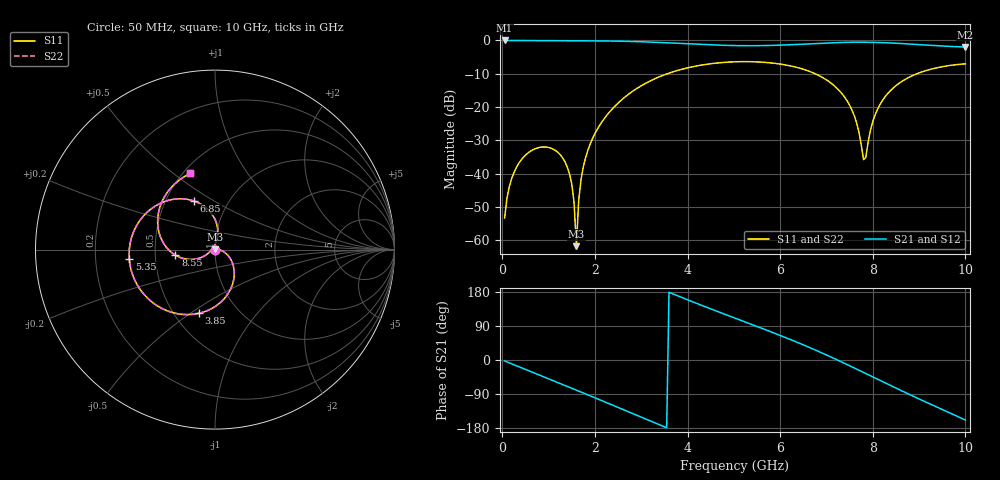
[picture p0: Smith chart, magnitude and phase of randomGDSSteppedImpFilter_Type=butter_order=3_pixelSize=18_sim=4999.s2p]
! freq	dB(S11)	phase(S11)	dB(S12)	phase(S12)
!  dB(S21)	phase(S21)	dB(S22)	phase(S22)
!S-par simulation data
#  GHz  S  DB  R 50
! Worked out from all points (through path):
!   200 points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, 50 MHz to 10 GHz, reference 50 ohm
!   highest |S21| = 0.00 dB at 50 MHz (marker M1); lowest = -2.0 dB at 10 GHz (marker M2)
!   group delay of S21, straight-line fit = 142 ps
!   lowest |S11| = -61.7 dB at 1.6 GHz (marker M3), VSWR 1.00, Z = 50 + j0.0757 ohm
!   |S11| at or under -10 dB: start of sweep to 3.561 GHz; 6.759 GHz to 8.952 GHz (2.193 GHz wide, 27.9 % of centre)
!   |S22| runs from -60.6 to -6.4 dB; largest |S21 - S12| = 0
!   S11 on the Smith chart (normalised r, x): 50 MHz: 1.00, -0.00; 3.85 GHz: 0.66, -0.54; 5.35 GHz: 0.35, -0.05; 6.85 GHz: 0.69, +0.41; 8.55 GHz: 0.64, -0.04; 10 GHz: 0.54, +0.58
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0.05  -53.24 -79.2  -0.00 -2.5  -0.00 -2.5  -53.26 -79.1
0.15  -43.95 -93.2  -0.01 -7.5  -0.01 -7.5  -43.95 -93.3
0.35  -37.00 -106.2  -0.03 -17.4  -0.03 -17.4  -37.00 -106.2
1.05  -32.31 -143.4  -0.06 -52.1  -0.06 -52.1  -32.31 -143.5
1.45  -39.94 -165.9  -0.08 -72.0  -0.08 -72.0  -39.92 -166.5
1.55  -48.61 -178.0  -0.09 -77.0  -0.09 -77.0  -48.53 -179.8
1.6  -61.71 112.8  -0.09 -79.5  -0.09 -79.5  -60.62 111.1
1.65  -47.96 18.0  -0.10 -82.0  -0.10 -82.0  -47.94 20.0
1.75  -37.89 5.4  -0.10 -87.0  -0.10 -87.0  -37.90 6.0
2.3  -21.71 -25.0  -0.17 -114.9  -0.17 -114.9  -21.72 -24.9
3.4  -10.86 -81.6  -0.61 -171.3  -0.61 -171.3  -10.86 -81.5
3.85  -8.74 -104.0  -0.91 166.3  -0.91 166.3  -8.74 -103.9
5.05  -6.39 -160.3  -1.55 109.4  -1.55 109.4  -6.40 -160.3
5.35  -6.37 -174.0  -1.58 95.5  -1.58 95.5  -6.37 -174.0
6.7  -9.64 121.1  -0.97 29.5  -0.97 29.5  -9.64 121.1
6.85  -10.61 113.4  -0.87 21.5  -0.87 21.5  -10.61 113.3
7.5  -19.43 81.5  -0.55 -15.2  -0.55 -15.2  -19.43 81.1
7.8  -35.75 122.3  -0.52 -32.8  -0.52 -32.8  -36.08 121.0
8.05  -22.33 -149.7  -0.58 -47.6  -0.58 -47.6  -22.35 -149.1
8.35  -15.50 -161.6  -0.73 -65.3  -0.73 -65.3  -15.51 -161.3
8.55  -13.03 -172.1  -0.87 -77.0  -0.87 -77.0  -13.04 -171.9
10  -7.01 107.9  -1.98 -158.4  -1.98 -158.4  -7.01 107.9
